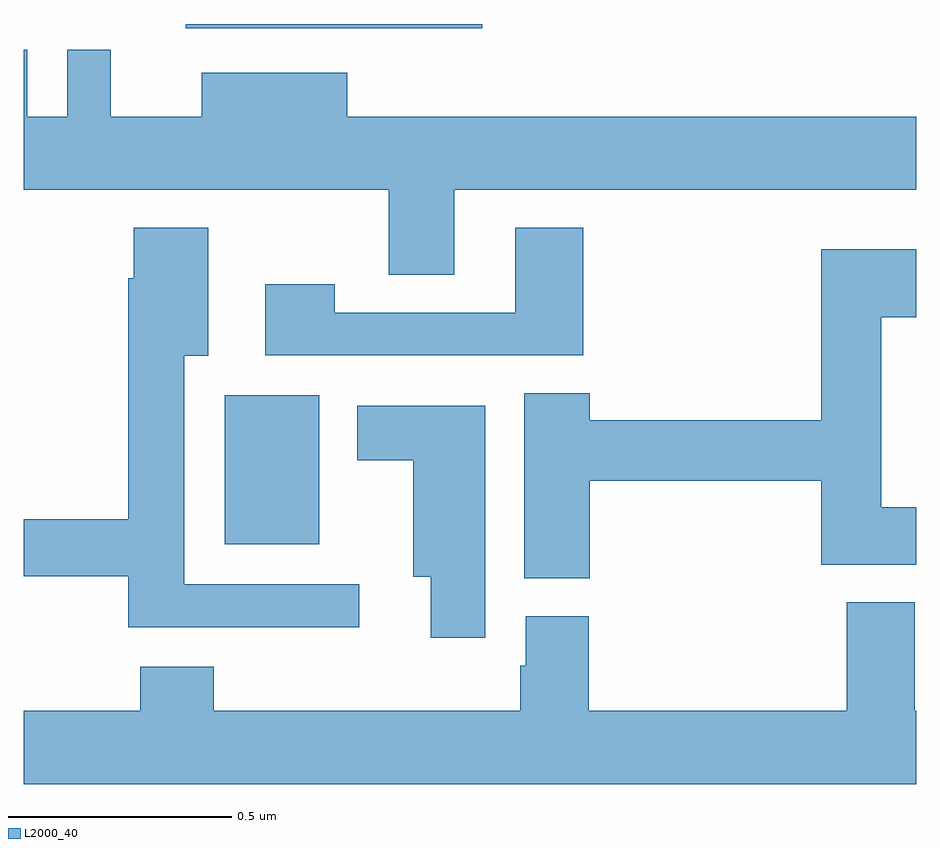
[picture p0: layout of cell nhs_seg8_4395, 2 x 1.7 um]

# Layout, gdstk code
import gdstk
lib = gdstk.Library(unit=1e-6, precision=1e-09)
def R(c, l, rs):  # rectangles x0, y0, x1, y1
    for r in rs: c.add(gdstk.rectangle(r[:2], r[2:], *l))
def P(c, l, *ps):  # polygons
    for p in ps: c.add(gdstk.Polygon(p, *l))
L2000_40 = (2000, 40)

nhs_seg8_4395 = lib.new_cell('nhs_seg8_4395')
R(nhs_seg8_4395, L2000_40, [(170.45,1087.733,170.662,1088.068), (170.363,1088.891,171.028,1088.9)])
P(nhs_seg8_4395, L2000_40, [(170.965,1088.528),(172,1088.528),(172,1088.692),(170.725,1088.692),(170.725,1088.791),(170.399,1088.791),(170.399,1088.692),(170.195,1088.692),(170.195,1088.842),(170.097,1088.842),(170.097,1088.692),(170.007,1088.692),(170.007,1088.842),(170,1088.842),(170,1088.528),(170.818,1088.528),(170.818,1088.338),(170.965,1088.338)],
  [(171.254,1088.443),(171.101,1088.443),(171.101,1088.253),(170.697,1088.253),(170.697,1088.317),(170.541,1088.317),(170.541,1088.157),(171.254,1088.157)],
  [(170.752,1087.644),(170.359,1087.644),(170.359,1088.156),(170.413,1088.156),(170.413,1088.443),(170.246,1088.443),(170.246,1088.33),(170.234,1088.33),(170.234,1087.79),(170,1087.79),(170,1087.662),(170.234,1087.662),(170.234,1087.547),(170.752,1087.547)],
  [(171.269,1087.876),(171.788,1087.876),(171.788,1087.688),(172,1087.688),(172,1087.816),(171.922,1087.816),(171.922,1088.243),(172,1088.243),(172,1088.395),(171.788,1088.395),(171.788,1088.012),(171.269,1088.012),(171.269,1088.072),(171.122,1088.072),(171.122,1087.657),(171.269,1087.657)],
  [(171.034,1088.044),(170.747,1088.044),(170.747,1087.922),(170.873,1087.922),(170.873,1087.661),(170.912,1087.661),(170.912,1087.524),(171.034,1087.524)],
  [(172,1087.36),(171.997,1087.36),(171.997,1087.603),(171.845,1087.603),(171.845,1087.36),(171.266,1087.36),(171.266,1087.572),(171.125,1087.572),(171.125,1087.461),(171.113,1087.461),(171.113,1087.36),(170.426,1087.36),(170.426,1087.459),(170.261,1087.459),(170.261,1087.36),(170,1087.36),(170,1087.196),(172,1087.196)])

lib.write_gds('nhs_seg8_4395.gds')
